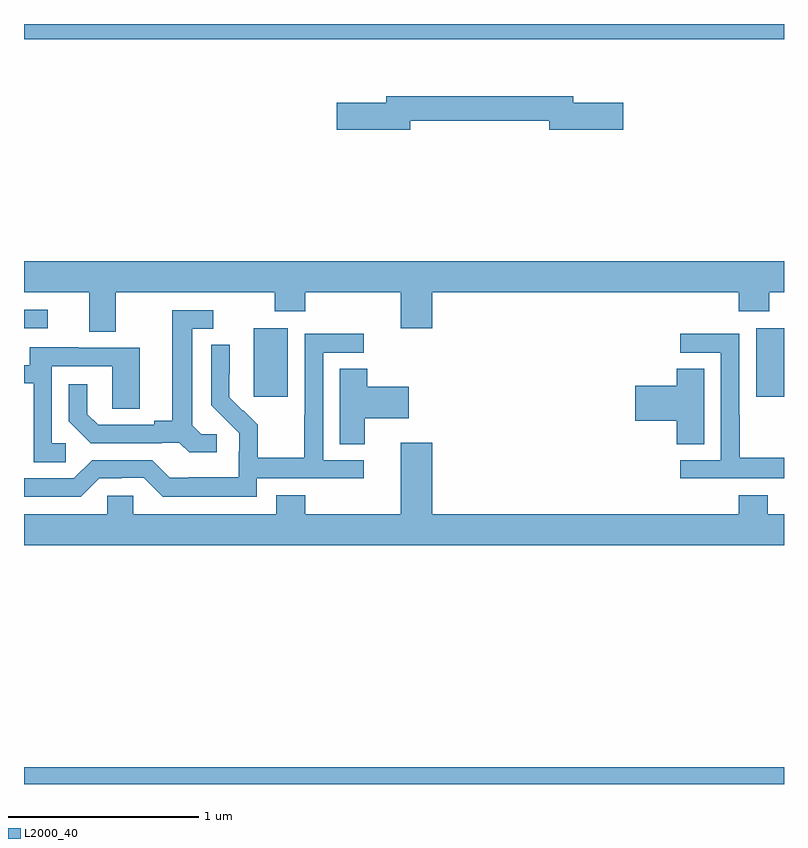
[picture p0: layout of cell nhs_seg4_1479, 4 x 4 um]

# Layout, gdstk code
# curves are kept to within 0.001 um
import gdstk
lib = gdstk.Library(unit=1e-6, precision=1e-09)
def R(c, l, rs):  # rectangles x0, y0, x1, y1
    for r in rs: c.add(gdstk.rectangle(r[:2], r[2:], *l))
def P(c, l, *ps):  # polygons
    for p in ps: c.add(gdstk.Polygon(p, *l))
L2000_40 = (2000, 40)

nhs_seg4_1479 = lib.new_cell('nhs_seg4_1479')
R(nhs_seg4_1479, L2000_40, [(187,792.9,191,792.988), (188.21,794.937,188.389,795.298), (190.853,794.937,191,795.298), (187,795.3,187.126,795.396), (187,796.82,191,796.9)])
P(nhs_seg4_1479, L2000_40, [(189.034,796.39),(189.764,796.39),(189.764,796.343),(190.153,796.343),(190.153,796.485),(189.892,796.485),(189.892,796.519),(188.906,796.519),(188.906,796.485),(188.646,796.485),(188.646,796.343),(189.034,796.343)],
  [(187,795.488),(187.343,795.488),(187.343,795.28),(187.483,795.28),(187.483,795.488),(188.32,795.488),(188.32,795.389),(188.48,795.389),(188.48,795.488),(188.984,795.488),(188.984,795.3),(189.148,795.3),(189.148,795.488),(190.763,795.488),(190.763,795.389),(190.923,795.389),(190.923,795.488),(191,795.488),(191,795.652),(187,795.652)],
  [(188.014,794.742),(187.932,794.742),(187.885,794.789),(187.885,795.297),(187.996,795.297),(187.996,795.393),(187.781,795.393),(187.781,794.813),(187.685,794.813),(187.685,794.79),(187.39,794.79),(187.333,794.847),(187.333,795.004),(187.236,795.004),(187.236,794.81),(187.352,794.694),(187.724,794.694),(187.724,794.697),(187.818,794.697),(187.87,794.645),(188.014,794.645)],
  [(191,794.617),(190.767,794.617),(190.767,794.84),(190.764,794.84),(190.764,795.27),(190.455,795.27),(190.455,795.171),(190.668,795.171),(190.668,794.604),(190.455,794.604),(190.455,794.508),(191,794.508)],
  [(188.226,794.508),(188.788,794.508),(188.788,794.604),(188.574,794.604),(188.574,795.171),(188.788,795.171),(188.788,795.27),(188.478,795.27),(188.478,794.84),(188.476,794.84),(188.476,794.617),(188.231,794.617),(188.231,794.791),(188.154,794.868),(188.151,794.865),(188.081,794.936),(188.082,795.212),(187.986,795.212),(187.986,794.894),(188.132,794.746),(188.132,794.649),(188.13,794.649),(188.13,794.515),(187.867,794.515),(187.867,794.511),(187.767,794.511),(187.674,794.604),(187.359,794.604),(187.263,794.508),(187,794.508),(187,794.412),(187.299,794.412),(187.395,794.508),(187.514,794.508),(187.514,794.511),(187.629,794.511),(187.729,794.411),(188.226,794.411)],
  [(187.219,794.694),(187.146,794.694),(187.146,795.099),(187.464,795.099),(187.464,794.875),(187.609,794.875),(187.609,795.195),(187.285,795.195),(187.285,795.199),(187.031,795.199),(187.031,795.105),(187,795.105),(187,795.009),(187.05,795.009),(187.05,794.593),(187.219,794.593)],
  [(190.579,795.086),(190.436,795.086),(190.436,794.996),(190.218,794.996),(190.218,794.813),(190.436,794.813),(190.436,794.689),(190.579,794.689)],
  [(188.794,794.825),(189.025,794.825),(189.025,794.991),(188.807,794.991),(188.807,795.086),(188.663,795.086),(188.663,794.689),(188.794,794.689)],
  [(191,794.32),(190.915,794.32),(190.915,794.419),(190.763,794.419),(190.763,794.32),(189.148,794.32),(189.148,794.695),(188.984,794.695),(188.984,794.32),(188.48,794.32),(188.48,794.419),(188.327,794.419),(188.327,794.32),(187.575,794.32),(187.575,794.418),(187.437,794.418),(187.437,794.32),(187,794.32),(187,794.156),(191,794.156)])

lib.write_gds('nhs_seg4_1479.gds')
